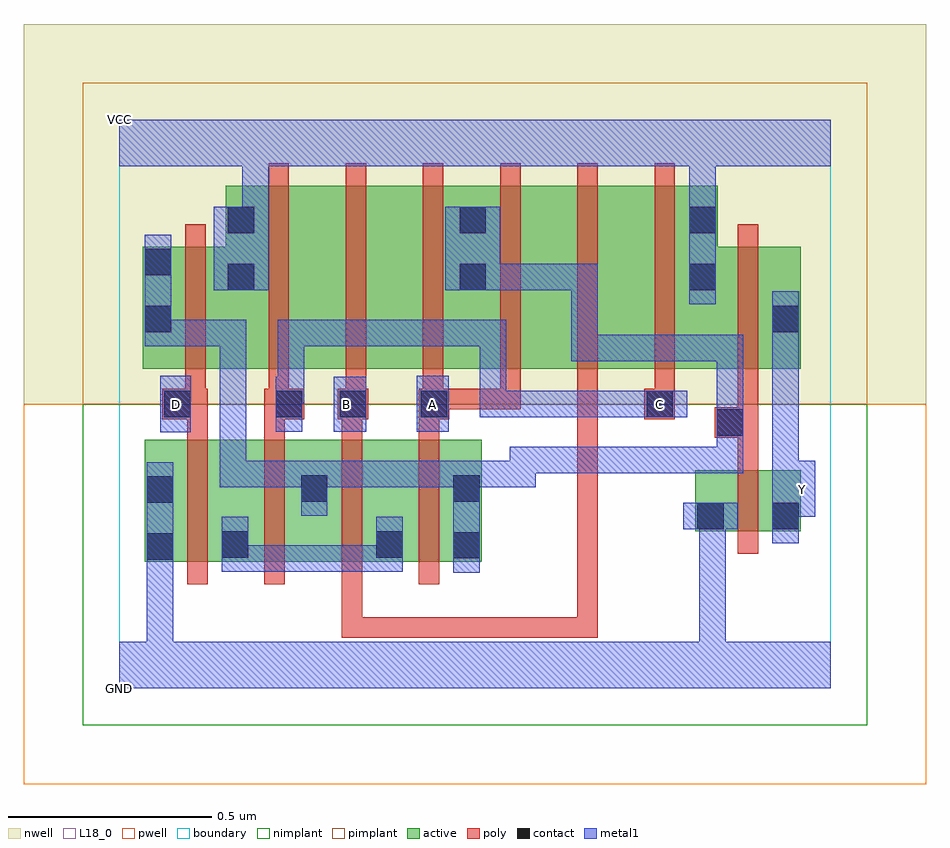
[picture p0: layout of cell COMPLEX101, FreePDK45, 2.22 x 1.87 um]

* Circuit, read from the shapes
.subckt COMPLEX101 A B C D GND VCC Y
M1 n1 D GND VSUBS nfet w=0.3u l=0.05u
M2 n2 C n1 VSUBS nfet w=0.3u l=0.05u
M3 n1 B n2 VSUBS nfet w=0.3u l=0.05u
M4 n2 A n1 VSUBS nfet w=0.3u l=0.05u
M5 Y n2 GND VSUBS nfet w=0.15u l=0.05u
M6 VCC D n2 n3 pfet w=0.3u l=0.05u
M7 n4 C VCC n3 pfet w=0.45u l=0.05u
M8 n5 B n4 n3 pfet w=0.45u l=0.05u
M9 n2 A n5 n3 pfet w=0.45u l=0.05u
M10 n6 A n2 n3 pfet w=0.45u l=0.05u
M11 n7 B n6 n3 pfet w=0.45u l=0.05u
M12 VCC C n7 n3 pfet w=0.45u l=0.05u
M13 Y n2 VCC n3 pfet w=0.3u l=0.05u
.ends

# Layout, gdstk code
import gdstk
lib = gdstk.Library(unit=1e-6, precision=1e-09)
def R(c, l, rs):  # rectangles x0, y0, x1, y1
    for r in rs: c.add(gdstk.rectangle(r[:2], r[2:], *l))
def A(c, l, x, y, w, h, nx, ny, dx, dy):  # array of equal rectangles
    R(c, l, [(x+i*dx, y+j*dy, x+i*dx+w, y+j*dy+h) for i in range(nx) for j in range(ny)])
active = (1, 0)
pwell = (2, 0)
nwell = (3, 0)
nimplant = (4, 0)
pimplant = (5, 0)
poly = (9, 0)
contact = (10, 0)
metal1 = (11, 0)
L18_0 = (18, 0)
boundary = (235, 0)

complex101 = lib.new_cell('COMPLEX101')
R(complex101, active, [(0.062,0.312,0.322,0.612), (0.062,0.312,0.137,0.612), (0.247,0.312,0.517,0.612), (0.247,0.312,0.322,0.547), (0.442,0.312,0.702,0.612), (0.627,0.312,0.892,0.612), (0.627,0.312,0.702,0.437), (0.817,0.315,0.892,0.612), (0.442,0.345,0.517,0.53), (1.417,0.387,1.492,0.537), (1.417,0.387,1.677,0.537), (1.602,0.387,1.677,0.537), (0.057,0.787,0.132,1.087), (0.057,0.787,0.337,1.087), (0.262,0.787,0.487,1.237), (0.487,0.787,0.677,1.237), (0.677,0.787,0.907,1.237), (0.832,0.787,1.057,1.237), (1.057,0.787,1.247,1.237), (1.247,0.787,1.472,1.237), (1.397,0.787,1.677,1.087), (1.602,0.787,1.677,1.055), (0.832,0.827,0.907,1.2), (0.262,0.975,0.337,1.19), (1.397,0.975,1.472,1.19)])
R(complex101, pwell, [(-0.235,-0.235,1.985,0.7)])
R(complex101, nwell, [(-0.235,0.7,1.985,1.635)])
R(complex101, nimplant, [(-0.09,-0.09,1.84,0.7)])
R(complex101, pimplant, [(-0.09,0.7,1.84,1.49)])
A(complex101, poly, 0.167, 0.257, 0.05, 0.41, 4, 1, 0.19, 0)
A(complex101, poly, 0.167, 0.617, 0.05, 0.095, 4, 1, 0.19, 0)
A(complex101, poly, 0.367, 0.687, 0.05, 0.095, 4, 1, 0.19, 0)
A(complex101, poly, 0.367, 0.732, 0.05, 0.56, 6, 1, 0.19, 0)
R(complex101, poly, [(0.547,0.125,0.597,0.175), (0.547,0.125,0.597,0.175), (0.547,0.125,0.597,0.175), (0.547,0.125,0.745,0.175), (0.547,0.125,0.597,0.307), (0.695,0.125,0.745,0.175), (0.695,0.125,0.745,0.175), (0.695,0.125,0.745,0.175), (0.695,0.125,1.045,0.175), (0.995,0.125,1.045,0.175), (0.995,0.125,1.045,0.175), (0.995,0.125,1.045,0.175), (0.995,0.125,1.045,0.175), (0.995,0.125,1.045,0.175), (0.995,0.125,1.045,0.175), (0.995,0.125,1.045,0.175), (0.995,0.125,1.177,0.175), (1.127,0.125,1.177,0.782), (1.127,0.125,1.177,0.175), (1.127,0.125,1.177,0.175), (1.127,0.125,1.177,0.175), (1.127,0.125,1.177,0.175), (1.127,0.125,1.177,0.175), (1.522,0.332,1.572,0.592), (1.522,0.542,1.572,0.667), (1.465,0.617,1.572,0.692), (1.522,0.642,1.572,0.782), (0.105,0.662,0.217,0.737), (0.357,0.662,0.455,0.737), (0.537,0.662,0.612,0.737), (0.737,0.662,0.812,0.737), (1.292,0.662,1.367,0.737), (0.162,0.687,0.212,0.782), (0.762,0.687,0.812,0.737), (0.762,0.687,0.812,0.737), (0.762,0.687,0.987,0.737), (0.937,0.687,0.987,0.737), (1.317,0.687,1.367,0.782), (0.162,0.732,0.212,1.142), (1.522,0.732,1.572,1.142)])
R(complex101, contact, [(0.067,0.317,0.132,0.382), (0.822,0.32,0.887,0.385), (0.252,0.322,0.317,0.387), (0.632,0.322,0.697,0.387), (1.422,0.392,1.487,0.457), (1.607,0.392,1.672,0.457), (0.067,0.457,0.132,0.522), (0.447,0.46,0.512,0.525), (0.822,0.46,0.887,0.525), (1.47,0.622,1.535,0.687), (0.11,0.667,0.175,0.732), (0.385,0.667,0.45,0.732), (0.542,0.667,0.607,0.732), (0.742,0.667,0.807,0.732), (1.297,0.667,1.362,0.732), (0.062,0.877,0.127,0.942), (1.607,0.877,1.672,0.942), (0.267,0.98,0.332,1.045), (0.837,0.98,0.902,1.045), (1.402,0.98,1.467,1.045), (0.062,1.017,0.127,1.082), (0.267,1.12,0.332,1.185), (0.837,1.12,0.902,1.185), (1.402,1.12,1.467,1.185)])
R(complex101, metal1, [(0,0,1.75,0.115), (0.067,0.05,0.132,0.115), (0.067,0.05,0.132,0.115), (0.067,0.05,0.132,0.347), (1.427,0.05,1.492,0.457), (0.067,0.282,0.132,0.347), (0.067,0.282,0.132,0.347), (0.067,0.282,0.132,0.557), (0.822,0.285,0.887,0.56), (0.252,0.287,0.317,0.422), (0.252,0.287,0.317,0.352), (0.252,0.287,0.317,0.352), (0.252,0.287,0.455,0.352), (0.39,0.287,0.455,0.352), (0.39,0.287,0.59,0.352), (0.525,0.287,0.59,0.352), (0.525,0.287,0.697,0.352), (0.632,0.287,0.697,0.422), (1.607,0.357,1.672,0.492), (1.387,0.392,1.522,0.457), (1.427,0.392,1.492,0.457), (1.427,0.392,1.492,0.457), (1.427,0.392,1.492,0.457), (1.427,0.392,1.492,0.457), (1.427,0.392,1.492,0.457), (1.427,0.392,1.492,0.457), (1.607,0.422,1.712,0.56), (0.447,0.425,0.512,0.56), (1.607,0.427,1.672,0.492), (0.247,0.495,0.312,0.56), (0.247,0.495,0.312,0.56), (0.247,0.495,0.312,0.56), (0.247,0.495,0.512,0.56), (0.247,0.495,0.312,0.585), (0.447,0.495,0.592,0.56), (0.527,0.495,0.592,0.56), (0.527,0.495,0.73,0.56), (0.665,0.495,0.73,0.56), (0.665,0.495,0.887,0.56), (0.822,0.495,0.887,0.56), (0.822,0.495,0.887,0.56), (0.822,0.495,1.025,0.56), (0.96,0.495,1.025,0.595), (1.607,0.495,1.672,0.907), (0.247,0.52,0.312,0.585), (0.247,0.52,0.312,0.907), (0.96,0.53,1.177,0.595), (1.112,0.53,1.177,0.595), (1.112,0.53,1.177,0.595), (1.112,0.53,1.177,0.595), (1.112,0.53,1.315,0.595), (1.25,0.53,1.315,0.595), (1.25,0.53,1.315,0.595), (1.25,0.53,1.315,0.595), (1.25,0.53,1.535,0.595), (1.47,0.53,1.535,0.595), (1.47,0.53,1.535,0.652), (1.47,0.587,1.535,0.722), (1.47,0.587,1.535,0.652), (1.47,0.587,1.535,0.652), (1.47,0.587,1.535,0.87), (0.1,0.63,0.175,0.77), (0.385,0.632,0.45,0.767), (0.527,0.632,0.607,0.767), (0.732,0.632,0.81,0.77), (0.887,0.667,0.952,0.732), (0.887,0.667,0.952,0.907), (0.887,0.667,1.025,0.732), (0.96,0.667,1.025,0.732), (0.96,0.667,1.177,0.732), (1.112,0.667,1.177,0.732), (1.112,0.667,1.177,0.732), (1.112,0.667,1.177,0.732), (1.112,0.667,1.315,0.732), (1.25,0.667,1.315,0.732), (1.25,0.667,1.327,0.732), (1.262,0.667,1.397,0.732), (0.385,0.702,0.455,0.767), (0.39,0.702,0.455,0.767), (0.39,0.702,0.455,0.907), (1.112,0.805,1.177,0.87), (1.112,0.805,1.177,0.87), (1.112,0.805,1.177,0.87), (1.112,0.805,1.315,0.87), (1.112,0.805,1.177,1.045), (1.25,0.805,1.315,0.87), (1.25,0.805,1.315,0.87), (1.25,0.805,1.315,0.87), (1.25,0.805,1.535,0.87), (1.47,0.805,1.535,0.87), (0.062,0.842,0.127,0.907), (0.062,0.842,0.127,0.907), (0.062,0.842,0.127,1.117), (0.062,0.842,0.312,0.907), (0.247,0.842,0.312,0.907), (0.39,0.842,0.455,0.907), (0.39,0.842,0.592,0.907), (0.527,0.842,0.592,0.907), (0.527,0.842,0.73,0.907), (0.665,0.842,0.73,0.907), (0.665,0.842,0.73,0.907), (0.665,0.842,0.73,0.907), (0.665,0.842,0.952,0.907), (0.887,0.842,0.952,0.907), (1.607,0.842,1.672,0.977), (1.402,0.945,1.467,1.22), (0.232,0.98,0.367,1.185), (0.802,0.98,0.937,1.185), (0.872,0.98,1.04,1.045), (0.975,0.98,1.04,1.045), (0.975,0.98,1.177,1.045), (1.112,0.98,1.177,1.045), (0.302,1.12,0.367,1.35), (1.402,1.155,1.467,1.35), (0,1.285,1.75,1.4)])
R(complex101, L18_0, [(0,0,1.75,0.115), (0.067,0.05,0.132,0.115), (0.067,0.05,0.132,0.115), (0.067,0.05,0.132,0.347), (1.427,0.05,1.492,0.457), (0.067,0.282,0.132,0.347), (0.067,0.282,0.132,0.347), (0.067,0.282,0.132,0.557), (1.607,0.357,1.672,0.492), (1.387,0.392,1.522,0.457), (1.427,0.392,1.492,0.457), (1.427,0.392,1.492,0.457), (1.427,0.392,1.492,0.457), (1.427,0.392,1.492,0.457), (1.427,0.392,1.492,0.457), (1.427,0.392,1.492,0.457), (1.607,0.422,1.712,0.56), (1.607,0.427,1.672,0.492), (1.647,0.457,1.712,0.522), (1.607,0.495,1.672,0.907), (0.1,0.63,0.175,0.77), (0.385,0.632,0.45,0.767), (0.527,0.632,0.607,0.767), (0.732,0.632,0.81,0.77), (0.107,0.667,0.172,0.732), (0.527,0.667,0.592,0.732), (0.737,0.667,0.802,0.732), (0.887,0.667,0.952,0.732), (0.887,0.667,0.952,0.907), (0.887,0.667,1.025,0.732), (0.96,0.667,1.025,0.732), (0.96,0.667,1.177,0.732), (1.112,0.667,1.177,0.732), (1.112,0.667,1.177,0.732), (1.112,0.667,1.177,0.732), (1.112,0.667,1.315,0.732), (1.25,0.667,1.315,0.732), (1.25,0.667,1.327,0.732), (1.262,0.667,1.397,0.732), (1.297,0.667,1.362,0.732), (0.385,0.702,0.455,0.767), (0.39,0.702,0.455,0.767), (0.39,0.702,0.455,0.907), (0.39,0.842,0.455,0.907), (0.39,0.842,0.592,0.907), (0.527,0.842,0.592,0.907), (0.527,0.842,0.73,0.907), (0.665,0.842,0.73,0.907), (0.665,0.842,0.73,0.907), (0.665,0.842,0.73,0.907), (0.665,0.842,0.952,0.907), (0.887,0.842,0.952,0.907), (1.607,0.842,1.672,0.977), (1.402,0.945,1.467,1.22), (0.232,0.98,0.367,1.185), (0.302,1.12,0.367,1.35), (1.402,1.155,1.467,1.35), (0,1.285,1.75,1.4)])
R(complex101, boundary, [(0,0,1.75,1.4)])
complex101.add(gdstk.Label('A', (0.77,0.7), layer=11, texttype=0))
complex101.add(gdstk.Label('B', (0.56,0.7), layer=11, texttype=0))
complex101.add(gdstk.Label('C', (1.33,0.7), layer=11, texttype=0))
complex101.add(gdstk.Label('D', (0.14,0.7), layer=11, texttype=0))
complex101.add(gdstk.Label('Y', (1.68,0.49), layer=11, texttype=0))
complex101.add(gdstk.Label('VCC', (0,1.4), layer=11, texttype=0))
complex101.add(gdstk.Label('GND', (0,0), layer=11, texttype=0))

lib.write_gds('COMPLEX101.gds')
